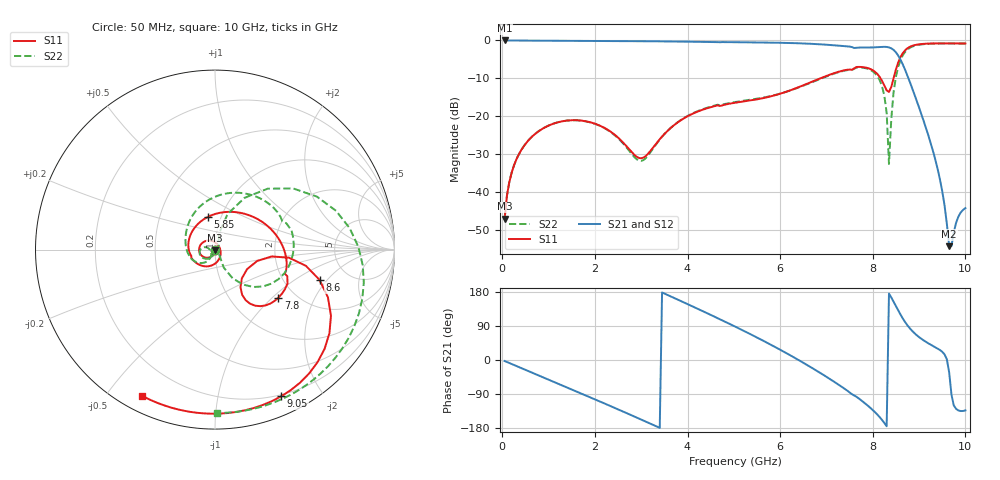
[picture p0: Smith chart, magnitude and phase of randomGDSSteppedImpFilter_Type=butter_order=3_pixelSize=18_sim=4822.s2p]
! freq	dB(S11)	phase(S11)	dB(S12)	phase(S12)
!  dB(S21)	phase(S21)	dB(S22)	phase(S22)
!S-par simulation data
#  GHz  S  DB  R 50
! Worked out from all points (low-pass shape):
!   200 points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, 50 MHz to 10 GHz, reference 50 ohm
!   highest |S21| = 0.00 dB at 50 MHz (marker M1); lowest = -54.3 dB at 9.65 GHz (marker M2)
!   |S21| within 3 dB of the highest: start of sweep to 8.489 GHz
!   lowest |S11| = -47.1 dB at 50 MHz (marker M3), VSWR 1.01, Z = 50 - j0.443 ohm
!   |S11| at or under -10 dB: start of sweep to 6.868 GHz; 8.167 GHz to 8.449 GHz (281.3 MHz wide, 3.39 % of centre)
!   |S22| runs from -47.1 to -0.8 dB; largest |S21 - S12| = 0
!   S11 on the Smith chart (normalised r, x): 50 MHz: 1.00, -0.01; 5.85 GHz: 0.87, +0.33; 7.8 GHz: 1.64, -1.09; 8.6 GHz: 3.12, -1.66; 9.05 GHz: 0.18, -1.53; 10 GHz: 0.06, -0.61
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0.05  -47.06 -90.0  -0.00 -2.6  -0.00 -2.6  -47.08 -91.0
0.2  -34.98 -100.5  -0.02 -10.5  -0.02 -10.5  -34.98 -99.0
0.5  -27.32 -117.9  -0.04 -26.0  -0.04 -26.0  -27.30 -114.0
1.75  -21.22 168.2  -0.14 -90.7  -0.14 -90.7  -21.24 -172.2
2.95  -31.02 34.7  -0.19 -154.5  -0.19 -154.5  -31.71 -164.9
3.4  -26.06 -56.3  -0.24 -179.1  -0.24 -179.1  -26.17 -120.2
4.35  -18.18 -138.1  -0.38 127.7  -0.38 127.7  -18.05 -146.3
5.05  -16.40 168.7  -0.47 86.9  -0.47 86.9  -16.21 -175.5
5.85  -14.59 102.4  -0.58 37.0  -0.58 37.0  -14.52 148.8
6.7  -10.84 37.6  -0.91 -21.8  -0.91 -21.8  -10.96 95.2
7.3  -8.13 -3.3  -1.41 -68.3  -1.41 -68.3  -8.24 44.7
7.8  -7.06 -37.2  -1.88 -111.2  -1.88 -111.2  -7.22 -2.5
8.2  -10.66 -59.0  -1.69 -158.2  -1.69 -158.2  -12.08 -51.4
8.3  -13.17 -47.1  -1.72 -175.0  -1.72 -175.0  -19.14 -64.2
8.35  -13.58 -31.2  -1.84 175.4  -1.84 175.4  -32.60 -37.3
8.45  -9.94 -6.9  -2.50 153.8  -2.50 153.8  -13.55 70.5
8.6  -4.35 -16.1  -5.10 119.6  -5.10 119.6  -5.14 38.0
8.8  -1.69 -42.1  -10.94 83.7  -10.94 83.7  -1.95 1.1
9.05  -0.95 -65.7  -19.48 55.8  -19.48 55.8  -1.05 -28.8
9.45  -0.78 -91.1  -36.65 26.4  -36.65 26.4  -0.81 -59.6
9.65  -0.78 -101.1  -54.29 -33.0  -54.29 -33.0  -0.79 -71.4
10  -0.82 -116.7  -44.25 -133.0  -44.25 -133.0  -0.82 -89.1
